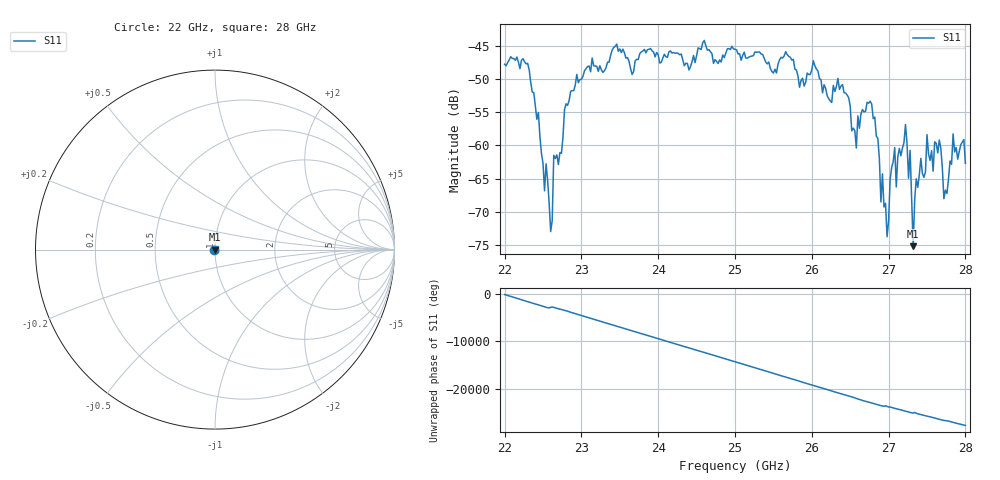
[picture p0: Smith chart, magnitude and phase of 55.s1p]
#  HZ  S  RI  R  50.00
! Rohde & Schwarz ZVA40 4Ports - Version 3.90 - 1145.1110k42 SN: 100403
! Date: 2023-10-04 10:46:48
! Measurement: S12
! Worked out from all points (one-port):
!   301 points, 22 GHz to 28 GHz, reference 50 ohm
!   lowest |S11| = -75.1 dB at 27.32 GHz (marker M1), VSWR 1.00, Z = 50 + j0.00932 ohm
!   |S11| at or under -10 dB: start of sweep to end of sweep
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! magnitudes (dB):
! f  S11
! 22 GHz  -47.8
! 22.3 GHz  -47.7
! 22.52 GHz  -66.8
! 22.54 GHz  -62.8
! 22.6 GHz  -72.9
! 22.64 GHz  -61.5
! 22.76 GHz  -58.8
! 22.94 GHz  -49.3
! 23.5 GHz  -45.5
! 24.26 GHz  -46.2
! 25 GHz  -45.5
! 25.76 GHz  -47.1
! 26.5 GHz  -54.1
! 26.58 GHz  -60.4
! 26.78 GHz  -53.8
! 26.98 GHz  -73.7
! 27.08 GHz  -60.3
! 27.1 GHz  -66.2
! 27.22 GHz  -56.9
! 27.26 GHz  -64.9
! 27.28 GHz  -60.7
! 27.32 GHz  -75.1
! 27.36 GHz  -65.0
! 27.5 GHz  -58.4
! 27.66 GHz  -59.2
! 27.72 GHz  -68.0
! 27.84 GHz  -58.3
! 28 GHz  -62.7
